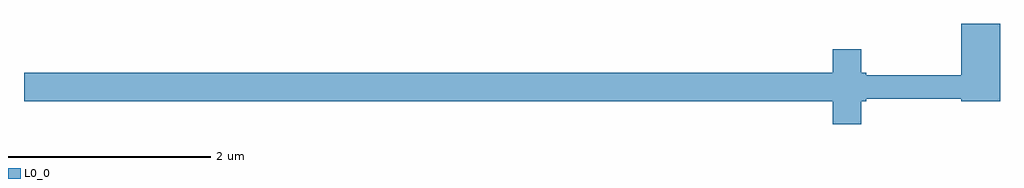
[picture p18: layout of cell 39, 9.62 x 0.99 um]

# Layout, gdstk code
import gdstk
lib = gdstk.Library(unit=1e-6, precision=1e-09)
def P(c, l, *ps):  # polygons
    for p in ps: c.add(gdstk.Polygon(p, *l))
L0_0 = (0, 0)

c_39 = lib.new_cell('39')
P(c_39, L0_0, [(989.86,998.825),(989.86,998.06),(989.48,998.06),(989.48,998.825),(989.86,998.825)],
  [(988.235,998.315),(989.67,998.315),(989.67,998.085),(988.235,998.085),(988.235,998.315)],
  [(988.16,998.34),(988.54,998.34),(988.54,998.06),(988.16,998.06),(988.16,998.34)],
  [(988.16,998.34),(988.54,998.34),(988.54,998.06),(988.16,998.06),(988.16,998.34)],
  [(988.21,998.57),(988.49,998.57),(988.49,997.83),(988.21,997.83),(988.21,998.57)],
  [(980.29,998.34),(988.49,998.34),(988.49,998.06),(980.29,998.06),(980.29,998.34)],
  [(980.24,998.34),(980.62,998.34),(980.62,998.06),(980.24,998.06),(980.24,998.34)],
  [(988.16,998.34),(988.54,998.34),(988.54,998.06),(988.16,998.06),(988.16,998.34)])

lib.write_gds('39.gds')
